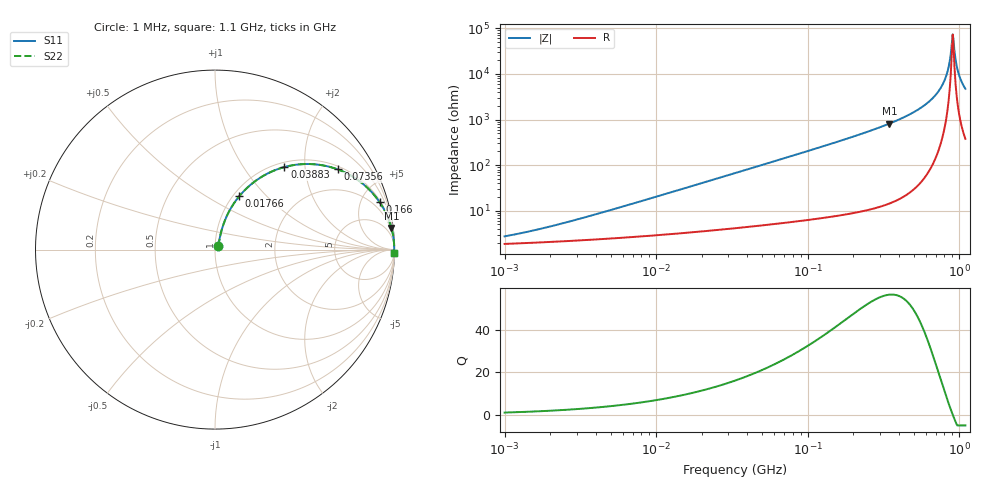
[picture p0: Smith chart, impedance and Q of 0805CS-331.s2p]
# MHz S MA R 50
!Freq  MagS11  AngS11  MagS21  AngS21  MagS12  AngS12  MagS22  AngS22
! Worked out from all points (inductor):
!   801 points, 1 MHz to 1.1 GHz, reference 50 ohm
!   read as one part in series: L = 320 nH near 3.406 MHz
!   highest Q = 56.7 at 346.4 MHz (marker M1), where L = 374 nH
!   self-resonance near 907.3 MHz
!   S11 on the Smith chart (normalised r, x): 1 MHz: 1.04, +0.04; 17.66 MHz: 1.07, +0.71; 38.83 MHz: 1.09, +1.56; 73.56 MHz: 1.11, +2.98; 166 MHz: 1.16, +6.91; 1.1 GHz: 9, -94
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1  0.02697 45.9  0.9814 -1.1  0.9814 -1.1  0.02697 45.9
3.231717  0.06712 67.2  0.976 -3.6  0.976 -3.6  0.06712 67.2
10.35297  0.2002 70.6  0.9523 -11.4  0.9523 -11.4  0.2002 70.6
17.6592  0.3264 65.6  0.9147 -19.0  0.9147 -19.0  0.3264 65.6
33.16625  0.5408 53.8  0.8084 -32.7  0.8084 -32.7  0.5408 53.8
38.82645  0.6006 50.0  0.7668 -36.8  0.7668 -36.8  0.6006 50.0
73.56221  0.8164 33.2  0.548 -54.7  0.548 -54.7  0.8164 33.2
107.1839  0.8994 24.3  0.4114 -64.0  0.4114 -64.0  0.8994 24.3
166.0415  0.9547 16.0  0.2763 -72.6  0.2763 -72.6  0.9547 16.0
343.3691  0.9902 7.1  0.1229 -81.9  0.1229 -81.9  0.9902 7.1
346.388  0.9904 7.0  0.1215 -82.0  0.1215 -82.0  0.9904 7.0
536.5991  0.9969 3.4  0.06014 -85.3  0.06014 -85.3  0.9969 3.4
703.8886  0.9984 1.6  0.02818 -86.0  0.02818 -86.0  0.9984 1.6
768.2832  0.9986 1.1  0.01841 -85.2  0.01841 -85.2  0.9986 1.1
816.8334  0.9987 0.7  0.01168 -83.2  0.01168 -83.2  0.9987 0.7
853.3795  0.9987 0.4  0.006928 -78.9  0.006928 -78.9  0.9987 0.4
883.7902  0.9987 0.2  0.003256 -65.8  0.003256 -65.8  0.9987 0.2
907.3073  0.9986 0.0  0.001359 -4.3  0.001359 -4.3  0.9986 0.0
931.4501  0.9986 -0.2  0.003098 63.2  0.003098 63.2  0.9986 -0.2
964.6429  0.9985 -0.4  0.006756 77.3  0.006756 77.3  0.9985 -0.4
999.0185  0.9984 -0.6  0.01055 81.2  0.01055 81.2  0.9984 -0.6
1100  0.9981 -1.2  0.02114 84.2  0.02114 84.2  0.9981 -1.2
